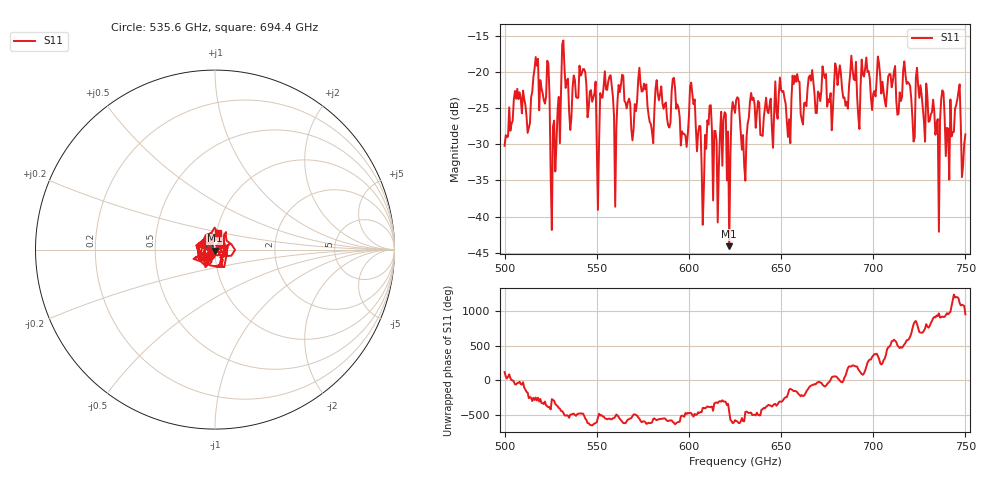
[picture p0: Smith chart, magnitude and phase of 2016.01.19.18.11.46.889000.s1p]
!Created with skrf (http://scikit-rf.org).
# GHz S RI R 50.0
!freq ReS11 ImS11
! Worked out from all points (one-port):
!   401 points, 500 GHz to 750 GHz, reference 50 ohm
!   lowest |S11| = -44.1 dB at 621.9 GHz (marker M1), VSWR 1.01, Z = 49.9 - j0.619 ohm
!   |S11| at or under -10 dB: start of sweep to end of sweep
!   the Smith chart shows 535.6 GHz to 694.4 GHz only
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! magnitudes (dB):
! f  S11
! 500 GHz  -30.2
! 506.9 GHz  -22.3
! 513.1 GHz  -27.7
! 516.9 GHz  -17.9
! 523.1 GHz  -18.4
! 526.2 GHz  -27.5
! 531.2 GHz  -16.1
! 543.1 GHz  -19.5
! 551.2 GHz  -29.7
! 553.1 GHz  -23.5
! 560 GHz  -38.6
! 562.5 GHz  -22.8
! 593.8 GHz  -24.5
! 598.1 GHz  -28.8
! 601.9 GHz  -23.0
! 608.1 GHz  -36.0
! 611.2 GHz  -24.6
! 614.4 GHz  -28.1
! 621.9 GHz  -44.1
! 625 GHz  -25.6
! 630 GHz  -33.0
! 634.4 GHz  -23.8
! 656.2 GHz  -20.5
! 687.5 GHz  -20.2
! 718.8 GHz  -21.3
! 735 GHz  -26.5
! 745.6 GHz  -23.8
! 750 GHz  -28.6
